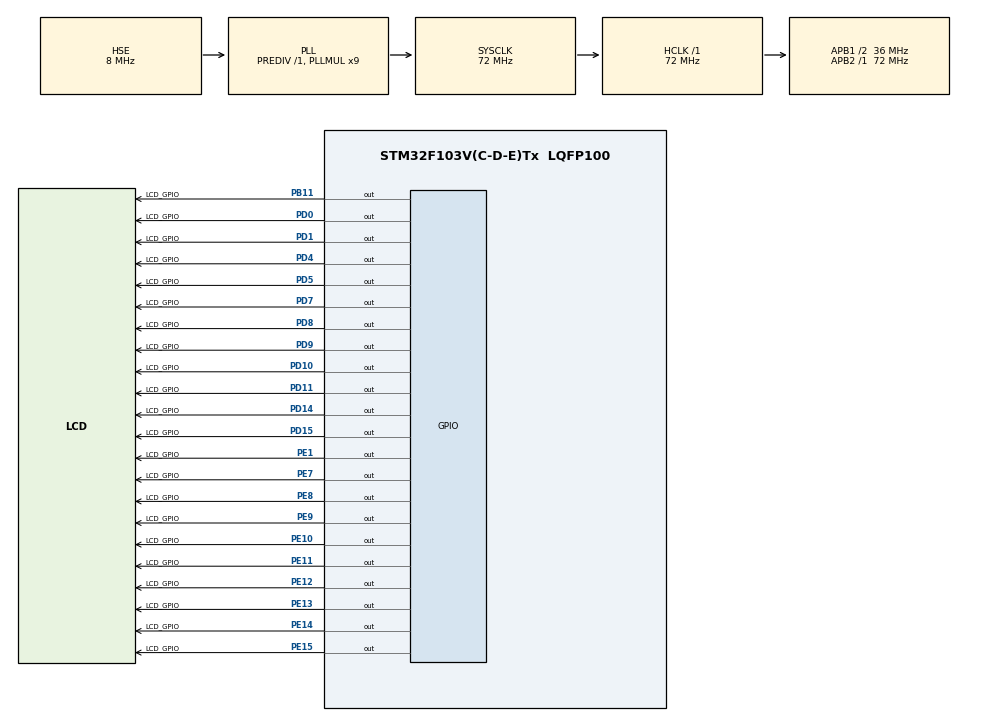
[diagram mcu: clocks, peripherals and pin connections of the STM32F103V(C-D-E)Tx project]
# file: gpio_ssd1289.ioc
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Mcu.Family=STM32F1
Mcu.Name=STM32F103V(C-D-E)Tx
Mcu.Package=LQFP100
NVIC.PriorityGroup=NVIC_PRIORITYGROUP_4
OSC_IN.Mode=HSE-External-Oscillator
OSC_IN.Signal=RCC_OSC_IN
OSC_OUT.Mode=HSE-External-Oscillator
OSC_OUT.Signal=RCC_OSC_OUT
PA13.Mode=Serial_Wire
PA13.Signal=SYS_JTMS-SWDIO
PA14.Mode=Serial_Wire
PA14.Signal=SYS_JTCK-SWCLK
PB11.GPIO_Label=LCD_GPIO
PB11.GPIO_ModeDefaultOutputPP=GPIO_MODE_OUTPUT_PP
PB11.GPIO_Speed=GPIO_SPEED_HIGH
PB11.Signal=GPIO_Output
PC14-OSC32_IN.Mode=LSE-External-Oscillator
PC14-OSC32_IN.Signal=RCC_OSC32_IN
PC15-OSC32_OUT.Mode=LSE-External-Oscillator
PC15-OSC32_OUT.Signal=RCC_OSC32_OUT
PD0.GPIO_Label=LCD_GPIO
PD0.GPIO_ModeDefaultOutputPP=GPIO_MODE_OUTPUT_PP
PD0.GPIO_Speed=GPIO_SPEED_HIGH
PD0.Signal=GPIO_Output
PD1.GPIO_Label=LCD_GPIO
PD1.GPIO_ModeDefaultOutputPP=GPIO_MODE_OUTPUT_PP
PD1.GPIO_Speed=GPIO_SPEED_HIGH
PD1.Signal=GPIO_Output
PD10.GPIO_Label=LCD_GPIO
PD10.GPIO_ModeDefaultOutputPP=GPIO_MODE_OUTPUT_PP
PD10.GPIO_Speed=GPIO_SPEED_HIGH
PD10.Signal=GPIO_Output
PD11.GPIO_Label=LCD_GPIO
PD11.GPIO_ModeDefaultOutputPP=GPIO_MODE_OUTPUT_PP
PD11.GPIO_Speed=GPIO_SPEED_HIGH
PD11.Signal=GPIO_Output
PD14.GPIO_Label=LCD_GPIO
PD14.GPIO_ModeDefaultOutputPP=GPIO_MODE_OUTPUT_PP
PD14.GPIO_Speed=GPIO_SPEED_HIGH
PD14.Signal=GPIO_Output
PD15.GPIO_Label=LCD_GPIO
PD15.GPIO_ModeDefaultOutputPP=GPIO_MODE_OUTPUT_PP
PD15.GPIO_Speed=GPIO_SPEED_HIGH
PD15.Signal=GPIO_Output
PD4.GPIO_Label=LCD_GPIO
PD4.GPIO_ModeDefaultOutputPP=GPIO_MODE_OUTPUT_PP
PD4.GPIO_Speed=GPIO_SPEED_HIGH
PD4.Signal=GPIO_Output
PD5.GPIO_Label=LCD_GPIO
PD5.GPIO_ModeDefaultOutputPP=GPIO_MODE_OUTPUT_PP
PD5.GPIO_Speed=GPIO_SPEED_HIGH
PD5.Signal=GPIO_Output
PD7.GPIO_Label=LCD_GPIO
PD7.GPIO_ModeDefaultOutputPP=GPIO_MODE_OUTPUT_PP
PD7.GPIO_Speed=GPIO_SPEED_HIGH
PD7.Signal=GPIO_Output
PD8.GPIO_Label=LCD_GPIO
PD8.GPIO_ModeDefaultOutputPP=GPIO_MODE_OUTPUT_PP
PD8.GPIO_Speed=GPIO_SPEED_HIGH
PD8.Signal=GPIO_Output
PD9.GPIO_Label=LCD_GPIO
PD9.GPIO_ModeDefaultOutputPP=GPIO_MODE_OUTPUT_PP
PD9.GPIO_Speed=GPIO_SPEED_HIGH
PD9.Signal=GPIO_Output
PE1.GPIO_Label=LCD_GPIO
PE1.GPIO_ModeDefaultOutputPP=GPIO_MODE_OUTPUT_PP
PE1.GPIO_Speed=GPIO_SPEED_HIGH
PE1.Signal=GPIO_Output
PE10.GPIO_Label=LCD_GPIO
PE10.GPIO_ModeDefaultOutputPP=GPIO_MODE_OUTPUT_PP
PE10.GPIO_Speed=GPIO_SPEED_HIGH
PE10.Signal=GPIO_Output
PE11.GPIO_Label=LCD_GPIO
PE11.GPIO_ModeDefaultOutputPP=GPIO_MODE_OUTPUT_PP
PE11.GPIO_Speed=GPIO_SPEED_HIGH
PE11.Signal=GPIO_Output
PE12.GPIO_Label=LCD_GPIO
PE12.GPIO_ModeDefaultOutputPP=GPIO_MODE_OUTPUT_PP
PE12.GPIO_Speed=GPIO_SPEED_HIGH
PE12.Signal=GPIO_Output
PE13.GPIO_Label=LCD_GPIO
PE13.GPIO_ModeDefaultOutputPP=GPIO_MODE_OUTPUT_PP
PE13.GPIO_Speed=GPIO_SPEED_HIGH
PE13.Signal=GPIO_Output
PE14.GPIO_Label=LCD_GPIO
PE14.GPIO_ModeDefaultOutputPP=GPIO_MODE_OUTPUT_PP
PE14.GPIO_Speed=GPIO_SPEED_HIGH
PE14.Signal=GPIO_Output
PE15.GPIO_Label=LCD_GPIO
PE15.GPIO_ModeDefaultOutputPP=GPIO_MODE_OUTPUT_PP
PE15.GPIO_Speed=GPIO_SPEED_HIGH
PE15.Signal=GPIO_Output
PE7.GPIO_Label=LCD_GPIO
PE7.GPIO_ModeDefaultOutputPP=GPIO_MODE_OUTPUT_PP
PE7.GPIO_Speed=GPIO_SPEED_HIGH
PE7.Signal=GPIO_Output
PE8.GPIO_Label=LCD_GPIO
PE8.GPIO_ModeDefaultOutputPP=GPIO_MODE_OUTPUT_PP
PE8.GPIO_Speed=GPIO_SPEED_HIGH
PE8.Signal=GPIO_Output
PE9.GPIO_Label=LCD_GPIO
PE9.GPIO_ModeDefaultOutputPP=GPIO_MODE_OUTPUT_PP
PE9.GPIO_Speed=GPIO_SPEED_HIGH
PE9.Signal=GPIO_Output
ProjectManager.TargetToolchain=SW4STM32
RCC.AHBFreq_Value=72000000
RCC.APB1CLKDivider=RCC_HCLK_DIV2
RCC.APB1Freq_Value=36000000
RCC.APB1TimFreq_Value=72000000
RCC.APB2Freq_Value=72000000
RCC.APB2TimFreq_Value=72000000
RCC.HCLKFreq_Value=72000000
RCC.HSIState=RCC_HSI_ON
RCC.PLLMUL=RCC_PLL_MUL9
RCC.PLLSourceVirtual=RCC_PLLSOURCE_HSE
RCC.SYSCLKFreq_VALUE=72000000
RCC.SYSCLKSource=RCC_SYSCLKSOURCE_PLLCLK
RCC.USBFreq_Value=48000000
RCC.USBPrescaler=RCC_USBPLLCLK_DIV1_5
board=MB-STM32F103VET6

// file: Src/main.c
/**
 ******************************************************************************
 * File Name          : main.c
 * Description        : Main program body
 ******************************************************************************
 *
 * COPYRIGHT(c) 2015 STMicroelectronics
 *
 * Redistribution and use in source and binary forms, with or without modification,
 * are permitted provided that the following conditions are met:
 *   1. Redistributions of source code must retain the above copyright notice,
 *      this list of conditions and the following disclaimer.
 *   2. Redistributions in binary form must reproduce the above copyright notice,
 *      this list of conditions and the following disclaimer in the documentation
 *      and/or other materials provided with the distribution.
 *   3. Neither the name of STMicroelectronics nor the names of its contributors
 *      may be used to endorse or promote products derived from this software
 *      without specific prior written permission.
 *
 * THIS SOFTWARE IS PROVIDED BY THE COPYRIGHT HOLDERS AND CONTRIBUTORS "AS IS"
 * AND ANY EXPRESS OR IMPLIED WARRANTIES, INCLUDING, BUT NOT LIMITED TO, THE
 * IMPLIED WARRANTIES OF MERCHANTABILITY AND FITNESS FOR A PARTICULAR PURPOSE ARE
 * DISCLAIMED. IN NO EVENT SHALL THE COPYRIGHT HOLDER OR CONTRIBUTORS BE LIABLE
 * FOR ANY DIRECT, INDIRECT, INCIDENTAL, SPECIAL, EXEMPLARY, OR CONSEQUENTIAL
 * DAMAGES (INCLUDING, BUT NOT LIMITED TO, PROCUREMENT OF SUBSTITUTE GOODS OR
 * SERVICES; LOSS OF USE, DATA, OR PROFITS; OR BUSINESS INTERRUPTION) HOWEVER
 * CAUSED AND ON ANY THEORY OF LIABILITY, WHETHER IN CONTRACT, STRICT LIABILITY,
 * OR TORT (INCLUDING NEGLIGENCE OR OTHERWISE) ARISING IN ANY WAY OUT OF THE USE
 * OF THIS SOFTWARE, EVEN IF ADVISED OF THE POSSIBILITY OF SUCH DAMAGE.
 *
 ******************************************************************************
 */
#include "stm32f1xx_hal.h"

/* USER CODE BEGIN PV */
/* Private variables ---------------------------------------------------------*/

/* USER CODE END PV */

void SystemClock_Config(void);
static void MX_GPIO_Init(void);

/* USER CODE BEGIN PFP */
/* Private function prototypes -----------------------------------------------*/

/* USER CODE END PFP */

/* USER CODE BEGIN 0 */
// GPIO
// 8080 Interface
// PD7-CS(inv.chip-select)
#define LCD_CS_SET() { GPIOD->BSRR = GPIO_PIN_7; }
#define LCD_CS_RESET() { GPIOD->BRR = GPIO_PIN_7; }
// PD4-RD(inv.read-strobe)
#define LCD_RD_SET() { GPIOD->BSRR = GPIO_PIN_4; }
#define LCD_RD_RESET() { GPIOD->BRR = GPIO_PIN_4; }
// PD5-WD(inv.write strobe)
#define LCD_WR_SET() { GPIOD->BSRR = GPIO_PIN_5; }
#define LCD_WR_RESET() { GPIOD->BRR = GPIO_PIN_5; }
// PD11-RS(address bus; 0=command,1=data)
#define LCD_RS_DATA() { GPIOD->BSRR = GPIO_PIN_11; }
#define LCD_RS_COMMAND() { GPIOD->BRR = GPIO_PIN_11; }

void GPIO_LCD_Output(uint16_t data) {
  LCD_RD_SET()
  ; // disable read

  LCD_CS_RESET()
  ; // chip select

  // PD0 PD1 PD8 PD9 PD10 PD14 PD15 PE7 PE8 PE9 PE10 PE11 PE12 PE13 PE14 PE15
  // D2  D3  D13 D14 D15  D0   D1   D4  D5  D6  D7   D8   D9   D10  D11  D12

  // 1. PORTE bit4 to 12, start = PE7, shift << 3
  GPIOE->ODR = ((0b0001111111110000 & data) << 3) | (GPIOE->ODR & 0b1111111);

  // 2. PORTD bit0 to 3, 13 to 15
  uint16_t did = (GPIOD->ODR & 0b0011100011111100);
  uint16_t d0_d1 = ((data >> 0) & 0b11) << 14;
  uint16_t d2_d3 = (data >> 2) & 0b11;
  uint16_t d13_d15 = ((data >> 13) & 0b111) << 8;
  GPIOD->ODR = d0_d1 | d2_d3 | d13_d15 | did;

  LCD_WR_RESET()
  ;  // write
  LCD_WR_SET()
  ;  // write finish
  LCD_CS_SET()
  ;  // chip unselect
}

void GPIO_LCD_Write_Command(uint16_t command) {
  LCD_RS_COMMAND()
  ;  // write to 0.command
  GPIO_LCD_Output(command);
}

void GPIO_LCD_Write_Data(uint16_t data) {
  LCD_RS_DATA()
  ;  // write to 1.command
  GPIO_LCD_Output(data);
}

#define GPIO_LCD_Write_Register(reg, val)\
{\
  GPIO_LCD_Write_Command(reg);\
  GPIO_LCD_Write_Data(val);\
}

// SSD1289 Initialize Sequence
// R01h Display Control Register
#define LCD_R01_RL 0
#define LCD_R01_REV 1
#define LCD_R01_CAD 0
#define LCD_R01_BGR 0
#define LCD_R01_SM 0
#define LCD_R01_TB 1
#define LCD_R01_MUX 319

// PE1-RESET
#define LCD_RESET() {\
  GPIOE->BRR = GPIO_PIN_1;\
  HAL_Delay(100);\
  GPIOE->BSRR = GPIO_PIN_1;\
  HAL_Delay(100);\
}
// PB11-LED_A
#define LCD_BACKLIGHT_ON() { GPIOB->BSRR = GPIO_PIN_11; }
#define LCD_BACKLIGHT_OFF() { GPIOB->BRR = GPIO_PIN_11; }

// alias
#define LCD_Write_REG GPIO_LCD_Write_Register
#define LCD_Write_Command GPIO_LCD_Write_Command
#define LCD_Write_Data GPIO_LCD_Write_Data

void SSD1289_Init() {

  LCD_BACKLIGHT_ON()
  ;
  LCD_RESET()
  ;

  // Display ON Sequence
  // Power supply setting

  // Set R07h at 0021h
  LCD_Write_REG(0x07, 0x0021);
  HAL_Delay(1);  // s
  LCD_Write_REG(0x00, 0x0001);
  HAL_Delay(1);  // s

  // Set R07h at 0023h
  LCD_Write_REG(0x07, 0x0023);
  HAL_Delay(1);  // s

  // Set R10h at 0000h
  LCD_Write_REG(0x10, 0x0000);
  HAL_Delay(1);  // s

  // Wait 30ms
  HAL_Delay(30);  // s

  // Set R07h at 0033h
  LCD_Write_REG(0x07, 0x0033);
  HAL_Delay(1);  // s

  // Entry Mode setting (R11h)
  LCD_Write_REG(0x0011, 0x6070);
  HAL_Delay(1);  // s

  // LCD driver AC setting (R02h)
  LCD_Write_REG(0x0002, 0x0600);
  HAL_Delay(1);  // s

  // Driver Output Control (R01h)
  LCD_Write_REG(0x0001,
      (LCD_R01_RL << 14) | (LCD_R01_REV << 13) | (LCD_R01_CAD << 12) | (LCD_R01_BGR << 11) | (LCD_R01_SM << 10) | (LCD_R01_TB << 9) | LCD_R01_MUX);
  HAL_Delay(1);

  // RAM data write (R22h)
  LCD_Write_Command(0x0022);  // s

  // Display ON and start to write RAM
  HAL_Delay(100);
}

// LCD Graphic Interface
// Colors
#define yellow    0x07FF
#define magneta   0xF81F
#define cyan      0xFFE0
#define red       0x001F
#define green     0x07E0
#define blue      0xF800
#define white     0xFFFF
#define black     0x3185

const unsigned char font_5x7[][5] = { { 0x00, 0x00, 0x00, 0x00, 0x00 }, // �������q�u�|
    { 0x00, 0x00, 0x4f, 0x00, 0x00 },     // !
    { 0x00, 0x07, 0x00, 0x07, 0x00 },     // "
    { 0x14, 0x7f, 0x14, 0x7f, 0x14 },     // #
    { 0x24, 0x2a, 0x7f, 0x2a, 0x12 },     // $
    { 0x23, 0x13, 0x08, 0x64, 0x62 },     // %
    { 0x36, 0x49, 0x55, 0x22, 0x40 },     // &
    { 0x00, 0x05, 0x03, 0x00, 0x00 },     // ,
    { 0x00, 0x1c, 0x22, 0x41, 0x00 },     // (
    { 0x00, 0x41, 0x22, 0x1c, 0x00 },     // )
    { 0x14, 0x08, 0x3E, 0x08, 0x14 },     // *
    { 0x08, 0x08, 0x3E, 0x08, 0x08 },     // +
    { 0x00, 0x50, 0x30, 0x00, 0x00 },     // ,
    { 0x08, 0x08, 0x08, 0x08, 0x08 },     // -
    { 0x00, 0x00, 0x40, 0x00, 0x00 },     // .
    { 0x20, 0x10, 0x08, 0x04, 0x02 },     // /
    { 0x3e, 0x51, 0x49, 0x45, 0x3e },     // 0
    { 0x00, 0x42, 0x7f, 0x40, 0x00 },     // 1
    { 0x42, 0x61, 0x51, 0x49, 0x46 },     // 2
    { 0x21, 0x41, 0x45, 0x4b, 0x31 },     // 3
    { 0x18, 0x14, 0x12, 0x7f, 0x10 },     // 4
    { 0x27, 0x45, 0x45, 0x45, 0x39 },     // 5
    { 0x3c, 0x4a, 0x49, 0x49, 0x30 },     // 6
    { 0x01, 0x71, 0x09, 0x05, 0x03 },     // 7
    { 0x36, 0x49, 0x49, 0x49, 0x36 },     // 8
    { 0x06, 0x49, 0x49, 0x29, 0x1e },     // 9
    { 0x00, 0x00, 0x24, 0x00, 0x00 },     // :
    { 0x00, 0x56, 0x36, 0x00, 0x00 },     // ;
    { 0x08, 0x1C, 0x3E, 0x7F, 0x00 },     // <
    { 0x14, 0x14, 0x14, 0x14, 0x14 },     // =
    { 0x00, 0x7F, 0x3E, 0x1C, 0x08 },     // >
    { 0x02, 0x01, 0x51, 0x09, 0x06 },     // ?
    { 0x32, 0x49, 0x71, 0x41, 0x3e },     // @
    { 0x7e, 0x11, 0x11, 0x11, 0x7e },     // A
    { 0x7f, 0x49, 0x49, 0x49, 0x36 },     // B
    { 0x3e, 0x41, 0x41, 0x41, 0x22 },     // C
    { 0x7f, 0x41, 0x41, 0x22, 0x1c },     // D
    { 0x7f, 0x49, 0x49, 0x49, 0x41 },     // E
    { 0x7f, 0x09, 0x09, 0x09, 0x01 },     // F
    { 0x3e, 0x41, 0x49, 0x49, 0x3a },     // G
    { 0x7f, 0x08, 0x08, 0x08, 0x7f },     // H
    { 0x00, 0x41, 0x7f, 0x41, 0x00 },     // I
    { 0x20, 0x40, 0x41, 0x3f, 0x01 },     // J
    { 0x7f, 0x08, 0x14, 0x22, 0x41 },     // K
    { 0x7f, 0x40, 0x40, 0x40, 0x40 },     // L
    { 0x7f, 0x02, 0x0c, 0x02, 0x7f },     // M
    { 0x7f, 0x04, 0x08, 0x10, 0x7f },     // N
    { 0x3e, 0x41, 0x41, 0x41, 0x3e },     // O
    { 0x7f, 0x09, 0x09, 0x09, 0x06 },     // P
    { 0x3e, 0x41, 0x51, 0x21, 0x5e },     // Q
    { 0x7f, 0x09, 0x19, 0x29, 0x46 },     // R
    { 0x46, 0x49, 0x49, 0x49, 0x31 },     // S
    { 0x01, 0x01, 0x7f, 0x01, 0x01 },     // T
    { 0x3f, 0x40, 0x40, 0x40, 0x3f },     // U
    { 0x1f, 0x20, 0x40, 0x20, 0x1f },     // V
    { 0x3f, 0x40, 0x30, 0x40, 0x3f },     // W
    { 0x63, 0x14, 0x08, 0x14, 0x63 },     // X
    { 0x07, 0x08, 0x70, 0x08, 0x07 },     // Y
    { 0x61, 0x51, 0x49, 0x45, 0x43 },     // Z
    { 0x00, 0x7F, 0x41, 0x41, 0x00 },     // [
    { 0x02, 0x04, 0x08, 0x10, 0x20 },     //
    { 0x02, 0x04, 0x08, 0x10, 0x20 },     //
    { 0x00, 0x41, 0x41, 0x7F, 0x00 },     // ]
    { 0x04, 0x02, 0x01, 0x02, 0x04 },     // ^
    { 0x40, 0x40, 0x40, 0x40, 0x40 },     // _
    { 0x20, 0x54, 0x54, 0x54, 0x78 },     // a
    { 0x7F, 0x48, 0x44, 0x44, 0x38 },     // b
    { 0x38, 0x44, 0x44, 0x44, 0x20 },     // c
    { 0x38, 0x44, 0x44, 0x48, 0x7F },     // d
    { 0x38, 0x54, 0x54, 0x54, 0x18 },     // e
    { 0x08, 0x7E, 0x09, 0x01, 0x02 },     // f
    { 0x0C, 0x52, 0x52, 0x52, 0x3E },     // g
    { 0x7F, 0x08, 0x04, 0x04, 0x78 },     // h
    { 0x00, 0x44, 0x7D, 0x40, 0x00 },     // i
    { 0x20, 0x40, 0x44, 0x3D, 0x00 },     // j
    { 0x7F, 0x10, 0x28, 0x44, 0x00 },     // k
    { 0x00, 0x41, 0x7F, 0x40, 0x00 },     // l
    { 0x7C, 0x04, 0x18, 0x04, 0x78 },     // m
    { 0x7C, 0x08, 0x04, 0x04, 0x78 },     // n
    { 0x38, 0x44, 0x44, 0x44, 0x38 },     // o
    { 0x7C, 0x14, 0x14, 0x14, 0x08 },     // p
    { 0x08, 0x14, 0x14, 0x18, 0x7C },     // q
    { 0x7C, 0x08, 0x04, 0x04, 0x08 },     // r
    { 0x48, 0x54, 0x54, 0x54, 0x20 },     // s
    { 0x04, 0x3F, 0x44, 0x40, 0x20 },     // t
    { 0x3C, 0x40, 0x40, 0x20, 0x7C },     // u
    { 0x1C, 0x20, 0x40, 0x20, 0x1C },     // v
    { 0x3C, 0x40, 0x30, 0x40, 0x3C },     // w
    { 0x44, 0x28, 0x10, 0x28, 0x44 },     // x
    { 0x0C, 0x50, 0x50, 0x50, 0x3C },     // y
    { 0x44, 0x64, 0x54, 0x4C, 0x44 },     // z
    { 0x00, 0x08, 0x36, 0x41, 0x00 },     // {
    { 0x00, 0x00, 0x7f, 0x00, 0x00 },     // |
    { 0x00, 0x41, 0x36, 0x08, 0x00 },     // }
    { 0x02, 0x01, 0x02, 0x02, 0x01 }     // ~
};

void LCD_SetCursor(uint16_t x, uint16_t y) {
  LCD_Write_REG(0x004E,x)
  ;
  LCD_Write_REG(0x004F,y)
  ;
  LCD_Write_Command(0x22);
}

void LCD_Clear(uint16_t color) {
  uint32_t index = 0;
  LCD_SetCursor(0, 0);
  LCD_Write_Command(0x22);
  for (index = 0; index < 240 * 320; index++) {
    LCD_Write_Data(color);
  }
}

void LCD_SetPoint(uint16_t x, uint16_t y, uint16_t Color) {
  LCD_SetCursor(y, x);
  LCD_Write_REG(0x22, Color)
  ;
}

void LCD_SetArea(uint16_t x1, uint16_t y1, uint16_t x2, uint16_t y2) {
  LCD_Write_Command(0x44);
  LCD_Write_Data((x2 << 8) | x1);    // Source RAM address window
  LCD_Write_Command(0x45);
  LCD_Write_Data(y1);    // Gate RAM address window
  LCD_Write_Command(0x46);
  LCD_Write_Data(y2);    // Gate RAM address window
  LCD_SetCursor(x1, y1);
}

void LCD_WriteChar5x7(uint16_t x, uint16_t y, char c, uint16_t t_color,
    uint16_t b_color, uint8_t rot, uint8_t zoom) {
  unsigned char h, ch, p, mask, z, z1;

  if (rot != 0)
    LCD_SetArea(x, y, x + (6 * zoom) - 1, y + (8 * zoom) - 1);
  else
    LCD_SetArea(y, x, y + (8 * zoom) - 1, x + (6 * zoom) - 1);

  for (h = 0; h < 6; h++) {
    if (h < 5) {
      if (c < 129)
        ch = font_5x7[c - 32][h];
      else
        ch = font_5x7[c - 32 - 63][h];

      if (rot != 0) {
        LCD_Write_REG(0x0011,0x6078)
        ;
        LCD_Write_Command(0x22);
      }
    } else
      ch = 0;

    z1 = zoom;
    while (z1 != 0) {
      if (rot != 0)
        mask = 0x01;
      else
        mask = 0x80;

      for (p = 0; p < 8; p++) {
        z = zoom;
        while (z != 0) {
          if (ch & mask)
            LCD_Write_Data(t_color);
          else
            LCD_Write_Data(b_color);

          z--;
        }
        if (rot != 0)
          mask = mask << 1;
        else
          mask = mask >> 1;
      }
      z1--;
    }
  }
}

void LCD_WriteString_5x7(uint16_t x, uint16_t y, char *text, uint16_t charColor,
    uint16_t b_color, uint8_t rot, uint8_t zoom) {
  uint8_t i;
  for (i = 0; *text; i++)
    LCD_WriteChar5x7(x + (i * 6 * zoom), y, *text++, charColor, b_color, rot,
        zoom);
}

void LCD_Draw_Line(uint16_t x1, uint16_t y1, uint16_t x2, uint16_t y2,
    uint16_t color) {
  uint16_t x, y, dx, dy;
  if (y1 == y2) {
    if (x1 <= x2)
      x = x1;
    else {
      x = x2;
      x2 = x1;
    }

    while (x <= x2) {
      LCD_SetPoint(x, y1, color);
      x++;
    }
    return;
  }

  else if (y1 > y2)
    dy = y1 - y2;
  else
    dy = y2 - y1;

  if (x1 == x2) {
    if (y1 <= y2)
      y = y1;
    else {
      y = y2;
      y2 = y1;
    }

    while (y <= y2) {
      LCD_SetPoint(x1, y, color);
      y++;
    }
    return;
  }

  else if (x1 > x2) {
    dx = x1 - x2;
    x = x2;
    x2 = x1;
    y = y2;
    y2 = y1;
  } else {
    dx = x2 - x1;
    x = x1;
    y = y1;
  }
  if (dx == dy) {
    while (x <= x2) {
      x++;
      if (y > y2)
        y--;

      else
        y++;
      LCD_SetPoint(x, y, color);
    }
  } else {
    LCD_SetPoint(x, y, color);
    if (y < y2) {
      if (dx > dy) {
        int16_t p = dy * 2 - dx;
        int16_t twoDy = 2 * dy;
        int16_t twoDyMinusDx = 2 * (dy - dx);
        while (x < x2) {
          x++;
          if (p < 0)
            p += twoDy;
          else {
            y++;
            p += twoDyMinusDx;
          }
          LCD_SetPoint(x, y, color);
        }
      } else {
        int16_t p = dx * 2 - dy;
        int16_t twoDx = 2 * dx;
        int16_t twoDxMinusDy = 2 * (dx - dy);
        while (y < y2) {
          y++;
          if (p < 0)
            p += twoDx;
          else {
            x++;
            p += twoDxMinusDy;
          }
          LCD_SetPoint(x, y, color);
        }
      }
    } else {
      if (dx > dy) {
        int16_t p = dy * 2 - dx;
        int16_t twoDy = 2 * dy;
        int16_t twoDyMinusDx = 2 * (dy - dx);
        while (x < x2) {
          x++;
          if (p < 0)
            p += twoDy;
          else {
            y--;
            p += twoDyMinusDx;
          }
          LCD_SetPoint(x, y, color);
        }
      } else {
        int16_t p = dx * 2 - dy;
        int16_t twoDx = 2 * dx;
        int16_t twoDxMinusDy = 2 * (dx - dy);
        while (y2 < y) {
          y--;
          if (p < 0)
            p += twoDx;
          else {
            x++;
            p += twoDxMinusDy;
          }
          LCD_SetPoint(x, y, color);
        }
      }
    }
  }
}

void LCD_Draw_Rectangle(uint16_t x1, uint16_t y1, uint16_t x2, uint16_t y2,
    uint16_t color, uint8_t fill) {
  if (fill) {
    uint16_t i;
    if (x1 > x2) {
      i = x2;
      x2 = x1;
    } else
      i = x1;
    for (; i <= x2; i++)
      LCD_Draw_Line(i, y1, i, y2, color);
    return;
  }
  LCD_Draw_Line(x1, y1, x1, y2, color);
  LCD_Draw_Line(x1, y2, x2, y2, color);
  LCD_Draw_Line(x2, y2, x2, y1, color);
  LCD_Draw_Line(x2, y1, x1, y1, color);
}
/* USER CODE END 0 */

int main(void) {

  /* MCU Configuration----------------------------------------------------------*/

  /* Reset of all peripherals, Initializes the Flash interface and the Systick. */
  HAL_Init();

  /* Configure the system clock */
  SystemClock_Config();

  /* Initialize all configured peripherals */
  MX_GPIO_Init();

  /* USER CODE BEGIN 2 */
  SSD1289_Init();
  LCD_Clear(black);

  LCD_Draw_Rectangle(0, 0, 10, 10, red, 1);
  LCD_Draw_Rectangle(10, 10, 20, 20, red, 1);
  LCD_Draw_Rectangle(20, 20, 30, 30, red, 1);

  LCD_WriteString_5x7(20, 240 - 30, "Hello world.", red, black, 0, 2);
  LCD_WriteString_5x7(20, 240 - 30 - 20, "STM32F103VET6", cyan, black, 0, 2);
  LCD_WriteString_5x7(20, 240 - 30 - 20 - 20, "<http://actinium.org/>", magneta,
  black, 0, 2);

  LCD_WriteString_5x7(10, 240 - 30 - 20 - 20 - 20, "abcdefghijklmnopqrstuvwxyz",
  yellow, black, 0, 1);
  LCD_WriteString_5x7(10, 240 - 30 - 20 - 20 - 20 - 10,
      "ABCDEFGHIJKLMNOPQRSTUVWXYZ", green, black, 0, 1);
  LCD_WriteString_5x7(10, 240 - 30 - 20 - 20 - 20 - 10 - 10,
      "!@#$%^&*()+-={[}]|;:'\"<,.>`~", blue, black, 0, 1);
  /* USER CODE END 2 */

  /* Infinite loop */
  while (1) {

  }

}

/** System Clock Configuration
 */
void SystemClock_Config(void) {

  RCC_OscInitTypeDef RCC_OscInitStruct;
  RCC_ClkInitTypeDef RCC_ClkInitStruct;

  RCC_OscInitStruct.OscillatorType = RCC_OSCILLATORTYPE_HSE;
  RCC_OscInitStruct.HSEState = RCC_HSE_ON;
  RCC_OscInitStruct.HSEPredivValue = RCC_HSE_PREDIV_DIV1;
  RCC_OscInitStruct.PLL.PLLState = RCC_PLL_ON;
  RCC_OscInitStruct.PLL.PLLSource = RCC_PLLSOURCE_HSE;
  RCC_OscInitStruct.PLL.PLLMUL = RCC_PLL_MUL9;
  HAL_RCC_OscConfig(&RCC_OscInitStruct);

  RCC_ClkInitStruct.ClockType = RCC_CLOCKTYPE_SYSCLK | RCC_CLOCKTYPE_PCLK1;
  RCC_ClkInitStruct.SYSCLKSource = RCC_SYSCLKSOURCE_PLLCLK;
  RCC_ClkInitStruct.AHBCLKDivider = RCC_SYSCLK_DIV1;
  RCC_ClkInitStruct.APB1CLKDivider = RCC_HCLK_DIV2;
  RCC_ClkInitStruct.APB2CLKDivider = RCC_HCLK_DIV1;
  HAL_RCC_ClockConfig(&RCC_ClkInitStruct, FLASH_LATENCY_2);

  HAL_SYSTICK_Config(HAL_RCC_GetHCLKFreq() / 1000);

  HAL_SYSTICK_CLKSourceConfig(SYSTICK_CLKSOURCE_HCLK);

}

/** Configure pins as
 * Analog
 * Input
 * Output
 * EVENT_OUT
 * EXTI
 */
void MX_GPIO_Init(void) {

  GPIO_InitTypeDef GPIO_InitStruct;

  /* GPIO Ports Clock Enable */
  __GPIOC_CLK_ENABLE()
  ;
  __GPIOE_CLK_ENABLE()
  ;
  __GPIOB_CLK_ENABLE()
  ;
  __GPIOD_CLK_ENABLE()
  ;
  __GPIOA_CLK_ENABLE()
  ;

  /*Configure GPIO pins : PE7 PE8 PE9 PE10
   PE11 PE12 PE13 PE14
   PE15 PE1 */
  GPIO_InitStruct.Pin = GPIO_PIN_7 | GPIO_PIN_8 | GPIO_PIN_9 | GPIO_PIN_10
      | GPIO_PIN_11 | GPIO_PIN_12 | GPIO_PIN_13 | GPIO_PIN_14 | GPIO_PIN_15
      | GPIO_PIN_1;
  GPIO_InitStruct.Mode = GPIO_MODE_OUTPUT_PP;
  GPIO_InitStruct.Speed = GPIO_SPEED_HIGH;
  HAL_GPIO_Init(GPIOE, &GPIO_InitStruct);

  /*Configure GPIO pin : PB11 */
  GPIO_InitStruct.Pin = GPIO_PIN_11;
  GPIO_InitStruct.Mode = GPIO_MODE_OUTPUT_PP;
  GPIO_InitStruct.Speed = GPIO_SPEED_HIGH;
  HAL_GPIO_Init(GPIOB, &GPIO_InitStruct);

  /*Configure GPIO pins : PD8 PD9 PD10 PD11
   PD14 PD15 PD0 PD1
   PD4 PD5 PD7 */
  GPIO_InitStruct.Pin = GPIO_PIN_8 | GPIO_PIN_9 | GPIO_PIN_10 | GPIO_PIN_11
      | GPIO_PIN_14 | GPIO_PIN_15 | GPIO_PIN_0 | GPIO_PIN_1 | GPIO_PIN_4
      | GPIO_PIN_5 | GPIO_PIN_7;
  GPIO_InitStruct.Mode = GPIO_MODE_OUTPUT_PP;
  GPIO_InitStruct.Speed = GPIO_SPEED_HIGH;
  HAL_GPIO_Init(GPIOD, &GPIO_InitStruct);

}

/************************ (C) COPYRIGHT STMicroelectronics *****END OF FILE****/
